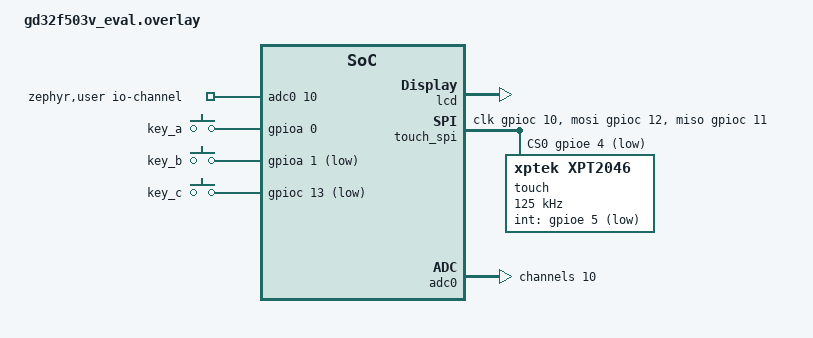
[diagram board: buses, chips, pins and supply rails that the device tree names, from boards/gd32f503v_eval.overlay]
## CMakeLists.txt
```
# Copyright (c) 2026 GigaDevice Semiconductor Inc.
# SPDX-License-Identifier: Apache-2.0

cmake_minimum_required(VERSION 3.20.0)
find_package(Zephyr REQUIRED HINTS $ENV{ZEPHYR_BASE})
project(gd32f503_hmi)

target_sources(app PRIVATE src/main.c)
```

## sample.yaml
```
sample:
  name: GD32F503 HMI
tests:
  sample.display.gd32f503_hmi:
    platform_allow: gd32f503v_eval
    tags:
      - display
      - lvgl
```

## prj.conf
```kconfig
# Copyright (c) 2026 GigaDevice Semiconductor Inc.
# SPDX-License-Identifier: Apache-2.0

CONFIG_GPIO=y
CONFIG_PRINTK=y
CONFIG_ADC=y
CONFIG_EEPROM=y
CONFIG_DISPLAY=y
CONFIG_INPUT=y
CONFIG_INPUT_GPIO_KEYS=n
CONFIG_SPI=y
CONFIG_SPI_BITBANG=y
CONFIG_LVGL=y
CONFIG_LV_FONT_DEFAULT_MONTSERRAT_12=y
CONFIG_LV_Z_POINTER_INPUT=y
CONFIG_LV_Z_MEM_POOL_SIZE=32768
CONFIG_LV_Z_VDB_SIZE=18
CONFIG_MAIN_STACK_SIZE=8192
```

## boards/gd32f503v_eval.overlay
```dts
/*
 * Copyright (c) 2026 GigaDevice Semiconductor Inc.
 *
 * SPDX-License-Identifier: Apache-2.0
 */

/ {
	chosen {
		zephyr,display = &lcd;
	};

	lcd: display@60000000 {
		compatible = "gd,gd32-ili9320";
		reg = <0x60000000 0x2>, <0x61000000 0x2>;
		clocks = <&cctl GD32_CLOCK_EXMC>;
		pinctrl-0 = <&lcd_default>;
		pinctrl-names = "default";
		width = <240>;
		height = <320>;
		address-setup-cycles = <8>;
		address-hold-cycles = <2>;
		data-setup-cycles = <15>;
		bus-latency-cycles = <2>;
	};

	touch_spi: touch-spi {
		compatible = "zephyr,spi-bitbang";
		#address-cells = <1>;
		#size-cells = <0>;
		clk-gpios = <&gpioc 10 GPIO_ACTIVE_HIGH>;
		mosi-gpios = <&gpioc 12 GPIO_ACTIVE_HIGH>;
		miso-gpios = <&gpioc 11 GPIO_ACTIVE_HIGH>;
		cs-gpios = <&gpioe 4 GPIO_ACTIVE_LOW>;
		status = "okay";

		touch: touchscreen@0 {
			compatible = "xptek,xpt2046";
			reg = <0>;
			spi-max-frequency = <125000>;
			int-gpios = <&gpioe 5 GPIO_ACTIVE_LOW>;
			touchscreen-size-x = <240>;
			touchscreen-size-y = <320>;
			min-x = <300>;
			max-x = <3850>;
			min-y = <220>;
			max-y = <3850>;
			reads = <5>;
		};
	};

	lvgl_pointer {
		compatible = "zephyr,lvgl-pointer-input";
		input = <&touch>;
		display = <&lcd>;
		invert-x;
		invert-y;
	};

	zephyr,user {
		io-channels = <&adc0 10>;
	};
};

&pinctrl {
	lcd_default: lcd_default {
		group1 {
			pinmux = <EXMC_D0_PD14>, <EXMC_D1_PD15>, <EXMC_D2_PD0>,
				 <EXMC_D3_PD1>, <EXMC_D4_PE7>, <EXMC_D5_PE8>,
				 <EXMC_D6_PE9>, <EXMC_D7_PE10>, <EXMC_D8_PE11>,
				 <EXMC_D9_PE12>, <EXMC_D10_PE13>, <EXMC_D11_PE14>,
				 <EXMC_D12_PE15>, <EXMC_D13_PD8>, <EXMC_D14_PD9>,
				 <EXMC_D15_PD10>, <EXMC_A23_PE2>, <EXMC_NOE_PD4>,
				 <EXMC_NWE_PD5>, <EXMC_NE0_PC4>;
		};
	};

	adc0_hmi: adc0_hmi {
		group1 {
			pinmux = <ADC012_IN10_PC0>;
		};
	};
};

&gpioe {
	status = "okay";
};

&key_a {
	gpios = <&gpioa 0 (GPIO_ACTIVE_HIGH | GPIO_PULL_UP)>;
};

&key_b {
	gpios = <&gpioa 1 (GPIO_ACTIVE_LOW | GPIO_PULL_UP)>;
};

&key_c {
	gpios = <&gpioc 13 (GPIO_ACTIVE_LOW | GPIO_PULL_UP)>;
};

&adc0 {
	pinctrl-0 = <&adc0_hmi>;

	channel@a {
		reg = <10>;
		zephyr,gain = "ADC_GAIN_1";
		zephyr,reference = "ADC_REF_INTERNAL";
		zephyr,acquisition-time = <ADC_ACQ_TIME_DEFAULT>;
		zephyr,resolution = <12>;
	};
};

&adc1 {
	status = "disabled";
};
```

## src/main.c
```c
/*
 * Copyright (c) 2026 GigaDevice Semiconductor Inc.
 *
 * SPDX-License-Identifier: Apache-2.0
 */

#include <zephyr/device.h>
#include <zephyr/drivers/adc.h>
#include <zephyr/drivers/display.h>
#include <zephyr/drivers/eeprom.h>
#include <zephyr/drivers/gpio.h>
#include <zephyr/kernel.h>
#include <zephyr/sys/printk.h>
#include <lvgl.h>
#include <stdio.h>

#define SCREEN_WIDTH     240
#define SCREEN_HEIGHT    320
#define ADC_REFERENCE_MV 3300

static const struct gpio_dt_spec leds[] = {
	GPIO_DT_SPEC_GET(DT_NODELABEL(led1), gpios),
	GPIO_DT_SPEC_GET(DT_NODELABEL(led2), gpios),
	GPIO_DT_SPEC_GET(DT_NODELABEL(led3), gpios),
};

static const struct gpio_dt_spec keys[] = {
	GPIO_DT_SPEC_GET(DT_NODELABEL(key_a), gpios),
	GPIO_DT_SPEC_GET(DT_NODELABEL(key_b), gpios),
	GPIO_DT_SPEC_GET(DT_NODELABEL(key_c), gpios),
};

static const char *const key_names[] = {"WAKEUP", "USER", "TAMPER"};
static const struct adc_dt_spec potentiometer = ADC_DT_SPEC_GET_BY_IDX(DT_PATH(zephyr_user), 0);
static const struct device *const eeprom = DEVICE_DT_GET(DT_ALIAS(eeprom_0));
static lv_obj_t *led_indicators[ARRAY_SIZE(leds)];
static lv_obj_t *key_labels[ARRAY_SIZE(keys)];
static lv_obj_t *voltage_label;
static lv_obj_t *voltage_bar;
static lv_obj_t *reference_label;
static lv_obj_t *temperature_label;
static lv_obj_t *address_label;
static lv_obj_t *value_label;
static lv_obj_t *eeprom_status;
static lv_obj_t *eeprom_dump;
static uint8_t address;
static uint8_t value;
static bool key_state[ARRAY_SIZE(keys)];
static uint8_t key_samples[ARRAY_SIZE(keys)];
static size_t active_led;
static bool internal_adc_ready;

static lv_obj_t *make_label(lv_obj_t *parent, const char *text, int x, int y)
{
	lv_obj_t *label = lv_label_create(parent);

	lv_label_set_text(label, text);
	lv_obj_set_pos(label, x, y);
	return label;
}

enum eeprom_action {
	ADDR_DOWN,
	ADDR_UP,
	VALUE_DOWN,
	VALUE_UP,
	PROBE,
	READ_BYTE,
	WRITE_BYTE,
	READ_EIGHT,
};

static void eeprom_action_cb(lv_event_t *event)
{
	enum eeprom_action action = (enum eeprom_action)(uintptr_t)lv_event_get_user_data(event);
	uint8_t data[8];
	char text[32];
	int ret = 0;

	switch (action) {
	case ADDR_DOWN:
		address--;
		break;
	case ADDR_UP:
		address++;
		break;
	case VALUE_DOWN:
		value--;
		break;
	case VALUE_UP:
		value++;
		break;
	case PROBE:
	case READ_BYTE:
		ret = device_is_ready(eeprom) ? eeprom_read(eeprom, address, data, 1) : -ENODEV;
		if (ret == 0 && action == READ_BYTE) {
			lv_label_set_text_fmt(eeprom_dump, "Read: 0x%02X", data[0]);
		}
		break;
	case WRITE_BYTE:
		ret = device_is_ready(eeprom) ? eeprom_write(eeprom, address, &value, 1) : -ENODEV;
		break;
	case READ_EIGHT: {
		size_t size = device_is_ready(eeprom) ? eeprom_get_size(eeprom) : 0;
		size_t len = address < size ? MIN(sizeof(data), size - address) : 0;
		int pos = 0;

		ret = len > 0 ? eeprom_read(eeprom, address, data, len) : -ENODEV;
		if (ret == 0) {
			for (size_t index = 0; index < len; index++) {
				pos += snprintf(&text[pos], sizeof(text) - pos, "%02X%s",
						data[index], index == 3 ? "\n" : " ");
			}
			lv_label_set_text(eeprom_dump, text);
		}
		break;
	}
	}
	lv_label_set_text_fmt(address_label, "0x%02X", address);
	lv_label_set_text_fmt(value_label, "0x%02X", value);
	if (action >= PROBE) {
		if (ret == 0) {
			lv_label_set_text(eeprom_status, "Status: OK");
		} else {
			lv_label_set_text_fmt(eeprom_status, "Status: error %d", ret);
		}
	}
}

static void make_button(lv_obj_t *parent, const char *text, int x, int y, int width,
			enum eeprom_action action)
{
	lv_obj_t *button = lv_button_create(parent);
	lv_obj_t *label = lv_label_create(button);

	lv_obj_set_pos(button, x, y);
	lv_obj_set_size(button, width, 30);
	lv_label_set_text(label, text);
	lv_obj_center(label);
	lv_obj_add_event_cb(button, eeprom_action_cb, LV_EVENT_CLICKED, (void *)(uintptr_t)action);
}

static void create_ui(void)
{
	lv_obj_t *tabs = lv_tabview_create(lv_screen_active());
	lv_obj_t *welcome;
	lv_obj_t *gpio_page;
	lv_obj_t *voltage_page;
	lv_obj_t *eeprom_page;

	lv_tabview_set_tab_bar_size(tabs, 36);
	welcome = lv_tabview_add_tab(tabs, "Welcome");
	gpio_page = lv_tabview_add_tab(tabs, "GPIO");
	voltage_page = lv_tabview_add_tab(tabs, "Voltage");
	eeprom_page = lv_tabview_add_tab(tabs, "EEPROM");
	lv_obj_set_style_pad_all(lv_tabview_get_tab_bar(tabs), 0, 0);
	for (int index = 0; index < 4; index++) {
		lv_obj_set_style_pad_all(lv_tabview_get_tab_button(tabs, index), 2, 0);
	}

	make_label(welcome, "GD32F503V-EVAL", 4, 12);
	make_label(welcome, "Zephyr + LVGL", 4, 40);
	make_label(welcome, "Display: ILI9320 240x320", 4, 82);
	make_label(welcome, "Touch: XPT2046", 4, 110);
	make_label(welcome, "MCU: GD32F503VGT6", 4, 138);

	make_label(gpio_page, "LEDs  PC7 / PC8 / PC9", 4, 8);
	for (size_t index = 0; index < ARRAY_SIZE(leds); index++) {
		led_indicators[index] = lv_led_create(gpio_page);
		lv_obj_set_size(led_indicators[index], 24, 24);
		lv_obj_set_pos(led_indicators[index], 20 + index * 64, 34);
		lv_led_set_color(led_indicators[index], lv_color_hex(0x00a050));
		lv_led_off(led_indicators[index]);
	}
	make_label(gpio_page, "Buttons  PA0 / PA1 / PC13", 4, 88);
	for (size_t index = 0; index < ARRAY_SIZE(keys); index++) {
		key_labels[index] = make_label(gpio_page, key_names[index], 4, 116 + index * 28);
	}

	make_label(voltage_page, "Voltage Monitor", 4, 8);
	make_label(voltage_page, "Potentiometer (PC0)", 4, 42);
	voltage_label = make_label(voltage_page, "-- V", 4, 66);
	voltage_bar = lv_bar_create(voltage_page);
	lv_obj_set_pos(voltage_bar, 4, 96);
	lv_obj_set_size(voltage_bar, 180, 12);
	lv_bar_set_range(voltage_bar, 0, 3300);
	reference_label = make_label(voltage_page, "VDD: --", 4, 126);
	temperature_label = make_label(voltage_page, "MCU temp: --", 4, 158);
	make_label(voltage_page, "Vrefint: 1.2 V nominal", 4, 190);

	make_label(eeprom_page, "AT24C02C  I2C0", 4, 2);
	eeprom_status = make_label(eeprom_page, "Status: idle", 4, 24);
	make_button(eeprom_page, "Probe", 4, 48, 80, PROBE);
	make_label(eeprom_page, "Addr", 4, 93);
	make_button(eeprom_page, "-", 54, 86, 32, ADDR_DOWN);
	address_label = make_label(eeprom_page, "0x00", 94, 93);
	make_button(eeprom_page, "+", 150, 86, 32, ADDR_UP);
	make_label(eeprom_page, "Value", 4, 131);
	make_button(eeprom_page, "-", 54, 124, 32, VALUE_DOWN);
	value_label = make_label(eeprom_page, "0x00", 94, 131);
	make_button(eeprom_page, "+", 150, 124, 32, VALUE_UP);
	make_button(eeprom_page, "Read", 4, 164, 58, READ_BYTE);
	make_button(eeprom_page, "Write", 68, 164, 58, WRITE_BYTE);
	make_button(eeprom_page, "Read 8", 132, 164, 68, READ_EIGHT);
	eeprom_dump = make_label(eeprom_page, "--", 4, 208);
}

static void update_inputs(void)
{
	for (size_t index = 0; index < ARRAY_SIZE(keys); index++) {
		int pressed = gpio_pin_get_dt(&keys[index]);

		if (pressed < 0) {
			continue;
		}
		if ((bool)pressed == key_state[index]) {
			key_samples[index] = 0;
		} else if (++key_samples[index] >= 3) {
			key_state[index] = pressed;
			key_samples[index] = 0;
			printk("%s %s\n", key_names[index], pressed ? "pressed" : "released");
			lv_label_set_text_fmt(key_labels[index], "%s: %s", key_names[index],
					      pressed ? "PRESSED" : "released");
		}
	}
}

static void update_voltage(void)
{
	uint16_t raw;
	uint16_t raw_reference = 0;
	uint16_t raw_temperature = 0;
	struct adc_sequence sequence = {
		.buffer = &raw,
		.buffer_size = sizeof(raw),
	};
	int reference_mv = ADC_REFERENCE_MV;
	int ret = adc_sequence_init_dt(&potentiometer, &sequence);

	if (ret == 0) {
		ret = adc_read_dt(&potentiometer, &sequence);
	}
	if (ret < 0) {
		lv_label_set_text_fmt(voltage_label, "ADC error %d", ret);
		return;
	}
	if (internal_adc_ready) {
		sequence.channels = BIT(17);
		sequence.buffer = &raw_reference;
		ret = adc_read(potentiometer.dev, &sequence);
		if (ret == 0 && raw_reference > 0) {
			int measured_mv = 1200 * 4095 / raw_reference;

			if (measured_mv >= 1800 && measured_mv <= 3600) {
				reference_mv = measured_mv;
			}
		}
		sequence.channels = BIT(16);
		sequence.buffer = &raw_temperature;
		if (adc_read(potentiometer.dev, &sequence) == 0 && raw_temperature > 0) {
			int sensor_mv = raw_temperature * reference_mv / 4095;
			int temperature = 25 + (1550 - sensor_mv) * 100 / 447;

			lv_label_set_text_fmt(temperature_label, "MCU temp: %d C (est.)",
					      temperature);
		} else {
			lv_label_set_text(temperature_label, "MCU temp: unavailable");
		}
	}
	int millivolts = raw * reference_mv / 4095;

	lv_label_set_text_fmt(voltage_label, "%d.%03d V", millivolts / 1000, millivolts % 1000);
	lv_label_set_text_fmt(reference_label, "VDD: %d.%03d V (est.)", reference_mv / 1000,
			      reference_mv % 1000);
	lv_bar_set_value(voltage_bar, millivolts, LV_ANIM_OFF);
}

static int show_white(const struct device *display)
{
	uint16_t row[SCREEN_WIDTH];
	struct display_buffer_descriptor descriptor = {
		.buf_size = sizeof(row),
		.width = SCREEN_WIDTH,
		.height = 1,
		.pitch = SCREEN_WIDTH,
	};

	for (size_t index = 0; index < ARRAY_SIZE(row); index++) {
		row[index] = 0xffff;
	}
	for (uint16_t line = 0; line < SCREEN_HEIGHT; line++) {
		int ret = display_write(display, 0, line, &descriptor, row);

		if (ret < 0) {
			return ret;
		}
	}
	return display_blanking_off(display);
}

int main(void)
{
	const struct device *display = DEVICE_DT_GET(DT_CHOSEN(zephyr_display));
	struct adc_channel_cfg internal_channel = {
		.gain = ADC_GAIN_1,
		.reference = ADC_REF_INTERNAL,
		.acquisition_time = ADC_ACQ_TIME(ADC_ACQ_TIME_TICKS, 240),
		.channel_id = 16,
	};
	int64_t next_led = 0;
	int64_t next_voltage = 0;

	printk("GD32F503 HMI starting\n");
	for (size_t index = 0; index < ARRAY_SIZE(leds); index++) {
		if (!gpio_is_ready_dt(&leds[index]) ||
		    gpio_pin_configure_dt(&leds[index], GPIO_OUTPUT_INACTIVE) < 0) {
			printk("LED %u initialization failed\n", (unsigned int)index);
			return 0;
		}
	}
	for (size_t index = 0; index < ARRAY_SIZE(keys); index++) {
		if (!gpio_is_ready_dt(&keys[index]) ||
		    gpio_pin_configure_dt(&keys[index], GPIO_INPUT) < 0) {
			printk("Key %u initialization failed\n", (unsigned int)index);
			return 0;
		}
	}
	if (!adc_is_ready_dt(&potentiometer) || adc_channel_setup_dt(&potentiometer) < 0) {
		printk("ADC initialization failed\n");
		return 0;
	}
	internal_adc_ready = adc_channel_setup(potentiometer.dev, &internal_channel) == 0;
	internal_channel.channel_id = 17;
	internal_adc_ready =
		adc_channel_setup(potentiometer.dev, &internal_channel) == 0 && internal_adc_ready;
	if (!device_is_ready(display) || show_white(display) < 0) {
		printk("Display initialization failed\n");
		return 0;
	}
	k_msleep(300);
	create_ui();
	printk("HMI ready\n");
	while (true) {
		int64_t now = k_uptime_get();

		if (now >= next_led) {
			for (size_t index = 0; index < ARRAY_SIZE(leds); index++) {
				bool on = index == active_led;

				gpio_pin_set_dt(&leds[index], on);
				if (on) {
					lv_led_on(led_indicators[index]);
				} else {
					lv_led_off(led_indicators[index]);
				}
			}
			active_led = (active_led + 1) % ARRAY_SIZE(leds);
			next_led = now + 300;
		}
		if (now >= next_voltage) {
			update_voltage();
			next_voltage = now + 500;
		}
		update_inputs();
		lv_timer_handler();
		k_msleep(10);
	}
	return 0;
}
```
